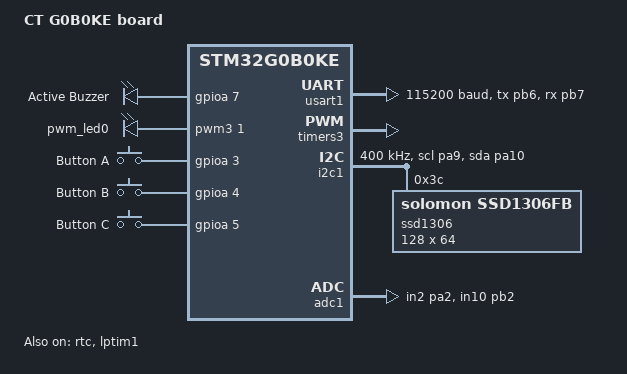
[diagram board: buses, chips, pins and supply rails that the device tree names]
/dts-v1/;
#include <st/g0/stm32g0b0Xe.dtsi>
#include <st/g0/stm32g0b0ketx-pinctrl.dtsi>
#include <zephyr/dt-bindings/input/input-event-codes.h>

/ {
	model = "CT G0B0KE board";
	compatible = "st,stm32g0b0ke-ct";

	chosen {
		zephyr,console = &usart1;
		zephyr,shell-uart = &usart1;
		zephyr,uart-mcumgr = &usart1;
		zephyr,sram = &sram0;
		zephyr,flash = &flash0;
		zephyr,code-partition = &slot0_partition;
		zephyr,display = &ssd1306;
	};

	buzzers: buzzers {
		// We need some kind of compatible. Instead of defining our own, use the gpios-leds.
		compatible = "gpio-leds";
		buzzer_0: buzzer_0 {
			gpios = <&gpioa 7 GPIO_ACTIVE_HIGH>;
			label = "Active Buzzer";
		};
	};

	pwmleds {
		compatible = "pwm-leds";
		pwm_led0: pwm_led_0 {
			pwms = <&pwm3 1 PWM_MSEC(20) PWM_POLARITY_NORMAL>;
		};
	};

	gpio_keys {
		compatible = "gpio-keys";
		user_button_a: button_a {
			label = "Button A";
			gpios = <&gpioa 3 (GPIO_ACTIVE_HIGH | GPIO_PULL_DOWN)>;
			zephyr,code = <INPUT_KEY_A>;
		};
		user_button_b: button_b {
			label = "Button B";
			gpios = <&gpioa 4 (GPIO_ACTIVE_HIGH | GPIO_PULL_DOWN)>;
			zephyr,code = <INPUT_KEY_B>;
		};
		user_button_c: button_c {
			label = "Button C";
			gpios = <&gpioa 5 (GPIO_ACTIVE_HIGH | GPIO_PULL_DOWN)>;
			zephyr,code = <INPUT_KEY_C>;
		};
	};

	aliases {
		sw0 = &user_button_a;
		swa = &user_button_a;
		swb = &user_button_b;
		swc = &user_button_c;
		// watchdog0 = &iwdg;
		// die-temp0 = &die_temp;
		// volt-sensor0 = &vref;
		// volt-sensor1 = &vbat;
		uiled = &pwm_led0;
		buzzer = &buzzer_0;
		rtc = &rtc;
	};
};

&clk_lsi {
	status = "okay";
};

&clk_hsi {
	status = "okay";
};

// &clk_hsi48 {
// 	status = "okay";
// 	crs-usb-sof;
// };

&pll {
	div-m = <1>;
	mul-n = <8>;
	div-p = <2>;
	div-q = <2>;
	div-r = <2>;
	clocks = <&clk_hsi>;
	status = "okay";
};

&rcc {
	clocks = <&pll>;
	clock-frequency = <DT_FREQ_M(64)>;
	ahb-prescaler = <1>;
	apb1-prescaler = <1>;
};

// zephyr_udc0: &usb {
// 	pinctrl-0 = <&usb_dm_pa11 &usb_dp_pa12>;
// 	pinctrl-names = "default";
// 	status = "okay";
// };

&usart1 {
	pinctrl-0 = <&usart1_tx_pb6 &usart1_rx_pb7>;
	pinctrl-names = "default";
	current-speed = <115200>;
	status = "okay";
};

// &usart2 {
// 	pinctrl-0 = <&usart2_tx_pa2 &usart2_rx_pa3>;
// 	pinctrl-names = "default";
// 	current-speed = <115200>;
// 	status = "okay";
// };

&rtc {
	clocks = <&rcc STM32_CLOCK_BUS_APB1 0x00000400>,
			 <&rcc STM32_SRC_LSI RTC_SEL(2)>;
	status = "okay";
};

// &iwdg {
// 	status = "okay";
// };

&timers3 {
	st,prescaler = <10000>;
	status = "okay";
	pwm3: pwm {
		status = "okay";
		pinctrl-0 = <&tim3_ch1_pa6>;
		pinctrl-names = "default";
	};
};

// &timers15 {
// 	st,prescaler = <10000>;
// 	status = "okay";
// 	pwm15: pwm {
// 		status = "okay";
// 		pinctrl-0 = <&tim15_ch1_pb14>;
// 		pinctrl-names = "default";
// 	};
// };

&i2c1 {
	pinctrl-0 = <&i2c1_scl_pa9 &i2c1_sda_pa10>;
	pinctrl-names = "default";
	status = "okay";
	clock-frequency = <I2C_BITRATE_FAST>;

	ssd1306: ssd1306@3c {
		compatible = "solomon,ssd1306fb";
		reg = <0x3c>;
		width = <128>;
		height = <64>;
		segment-offset = <0>;
		page-offset = <0>;
		display-offset = <0>;
		multiplex-ratio = <63>;
		segment-remap;
		com-invdir;
		prechargep = <0x22>;
	};
};

// &i2c2 {
// 	pinctrl-0 = <&i2c2_scl_pa11 &i2c2_sda_pa12>;
// 	pinctrl-names = "default";
// 	status = "okay";
// 	clock-frequency = <I2C_BITRATE_FAST>;
// };

// &spi1 {
// 	pinctrl-0 = <&spi1_nss_pb0 &spi1_sck_pa5
// 		     &spi1_miso_pa6 &spi1_mosi_pa7>;
// 	pinctrl-names = "default";
// 	status = "okay";
// };

// &spi2 {
// 	pinctrl-0 = <&spi2_nss_pd0 &spi2_sck_pd1
// 		     &spi2_miso_pd3 &spi2_mosi_pd4>;
// 	pinctrl-names = "default";
// 	status = "okay";
// };

&adc1 {
	pinctrl-0 = <&adc1_in2_pa2 &adc1_in10_pb2>;
	pinctrl-names = "default";
	st,adc-clock-source = <SYNC>;
	st,adc-prescaler = <4>;
	status = "okay";
};

// &die_temp {
// 	status = "okay";
// };

// &dac1 {
// 	status = "okay";
// 	pinctrl-0 = <&dac1_out1_pa4>;
// 	pinctrl-names = "default";
// };

// &fdcan1 {
// 	clocks = <&rcc STM32_CLOCK_BUS_APB1 0x00001000>,
// 		 <&rcc STM32_SRC_PLL_Q FDCAN_SEL(1)>;
// 	pinctrl-0 = <&fdcan1_rx_pa11 &fdcan1_tx_pa12>;
// 	pinctrl-names = "default";
// 	status = "okay";
// };

// &fdcan2 {
// 	clocks = <&rcc STM32_CLOCK_BUS_APB1 0x00001000>,
// 		 <&rcc STM32_SRC_PLL_Q FDCAN_SEL(1)>;
// 	pinctrl-0 = <&fdcan2_rx_pb0 &fdcan2_tx_pb1>;
// 	pinctrl-names = "default";
// 	status = "okay";
// };

&flash0 {
	partitions {
		compatible = "fixed-partitions";
		#address-cells = <1>;
		#size-cells = <1>;

		boot_partition: partition@0 {
			label = "mcuboot";
			reg = <0x00000000 DT_SIZE_K(48)>;
			read-only;
		};
		slot0_partition: partition@C000 {
			label = "image-0";
			reg = <0x0000C000 DT_SIZE_K(200)>;
		};
		slot1_partition: partition@3E000 {
			label = "image-1";
			reg = <0x0003E000 DT_SIZE_K(200)>;
		};
		/* final 64KiB reserved for app storage partition */
		storage_partition: partition@70000 {
			label = "storage";
			reg = <0x00070000 DT_SIZE_K(64)>;
		};
	};
};

stm32_lp_tick_source: &lptim1 {
	clocks = <&rcc STM32_CLOCK_BUS_APB1 0x80000000>,
			 <&rcc STM32_SRC_LSI LPTIM1_SEL(1)>;
	status = "okay";
};

// &vref {
// 	status = "okay";
// };

// &vbat {
// 	status = "okay";
// };
